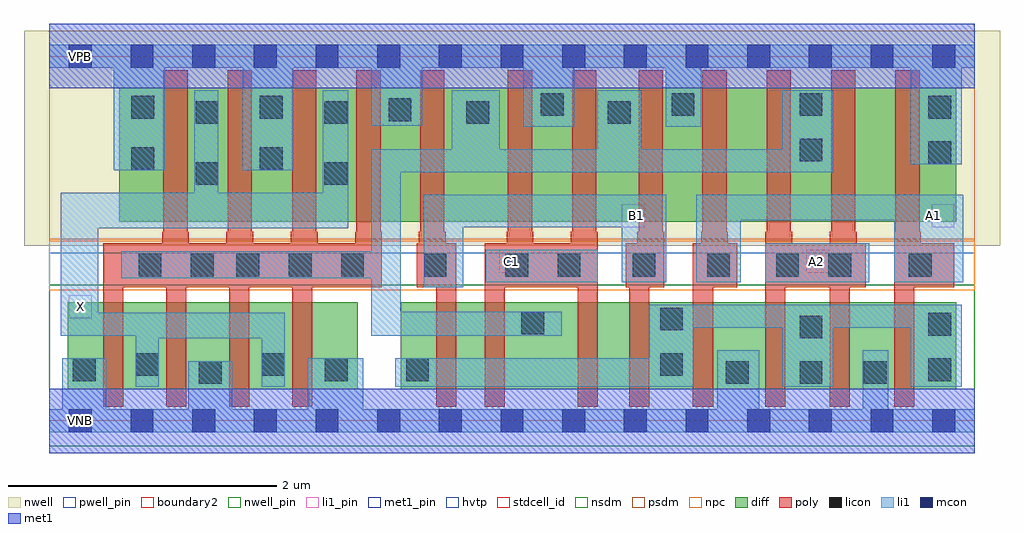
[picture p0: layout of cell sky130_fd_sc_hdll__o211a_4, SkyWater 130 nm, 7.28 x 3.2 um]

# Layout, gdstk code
import gdstk
lib = gdstk.Library(unit=1e-6, precision=1e-09)
def R(c, l, rs):  # rectangles x0, y0, x1, y1
    for r in rs: c.add(gdstk.rectangle(r[:2], r[2:], *l))
def A(c, l, x, y, w, h, nx, ny, dx, dy):  # array of equal rectangles
    R(c, l, [(x+i*dx, y+j*dy, x+i*dx+w, y+j*dy+h) for i in range(nx) for j in range(ny)])
def P(c, l, *ps):  # polygons
    for p in ps: c.add(gdstk.Polygon(p, *l))
nwell_pin = (64, 16)
nwell = (64, 20)
diff = (65, 20)
poly = (66, 20)
licon = (66, 44)
li1_pin = (67, 16)
li1 = (67, 20)
mcon = (67, 44)
met1_pin = (68, 16)
met1 = (68, 20)
hvtp = (78, 44)
stdcell_id = (81, 4)
nsdm = (93, 44)
psdm = (94, 20)
npc = (95, 20)
pwell_pin = (122, 16)
boundary2 = (236, 0)

sky130_fd_sc_hdll__o211a = lib.new_cell('sky130_fd_sc_hdll__o211a_4')
R(sky130_fd_sc_hdll__o211a, nwell_pin, [(0.145,2.635,0.315,2.805)])
R(sky130_fd_sc_hdll__o211a, nwell, [(-0.19,1.305,7.09,2.91)])
R(sky130_fd_sc_hdll__o211a, diff, [(0.135,0.235,2.3,0.885), (2.62,0.235,6.765,0.885), (0.52,1.485,6.765,2.485)])
P(sky130_fd_sc_hdll__o211a, poly, [(2.48,1.41),(2.47,1.41),(2.47,2.615),(2.29,2.615),(2.29,1.41),(2.28,1.41),(2.28,1.325),(2,1.325),(2,1.41),(1.99,1.41),(1.99,2.615),(1.81,2.615),(1.81,1.41),(1.8,1.41),(1.8,1.325),(1.52,1.325),(1.52,1.41),(1.51,1.41),(1.51,2.615),(1.33,2.615),(1.33,1.41),(1.32,1.41),(1.32,1.325),(1.04,1.325),(1.04,1.41),(1.03,1.41),(1.03,2.615),(0.85,2.615),(0.85,1.41),(0.84,1.41),(0.84,1.325),(0.4,1.325),(0.4,0.105),(0.55,0.105),(0.55,0.995),(0.87,0.995),(0.87,0.105),(1.02,0.105),(1.02,0.995),(1.34,0.995),(1.34,0.105),(1.49,0.105),(1.49,0.995),(1.81,0.995),(1.81,0.105),(1.96,0.105),(1.96,0.995),(2.48,0.995)],
  [(3.035,1.325),(2.955,1.325),(2.955,1.41),(2.945,1.41),(2.945,2.615),(2.765,2.615),(2.765,1.41),(2.755,1.41),(2.755,1.325),(2.74,1.325),(2.74,0.995),(2.885,0.995),(2.885,0.105),(3.035,0.105)],
  [(4.09,1.41),(4.08,1.41),(4.08,2.615),(3.9,2.615),(3.9,1.41),(3.89,1.41),(3.89,1.325),(3.61,1.325),(3.61,1.41),(3.6,1.41),(3.6,2.615),(3.42,2.615),(3.42,1.41),(3.41,1.41),(3.41,1.325),(3.245,1.325),(3.245,0.105),(3.395,0.105),(3.395,0.995),(3.94,0.995),(3.94,0.105),(4.09,0.105)],
  [(4.585,1.41),(4.575,1.41),(4.575,2.615),(4.395,2.615),(4.395,1.41),(4.385,1.41),(4.385,1.325),(4.3,1.325),(4.3,0.995),(4.325,0.995),(4.325,0.105),(4.475,0.105),(4.475,0.995),(4.585,0.995)],
  [(5.13,1.325),(5.06,1.325),(5.06,1.41),(5.05,1.41),(5.05,2.615),(4.87,2.615),(4.87,1.41),(4.86,1.41),(4.86,1.325),(4.8,1.325),(4.8,0.105),(4.95,0.105),(4.95,0.995),(5.13,0.995)],
  [(6.09,1.325),(6.02,1.325),(6.02,1.41),(6.01,1.41),(6.01,2.615),(5.83,2.615),(5.83,1.41),(5.82,1.41),(5.82,1.325),(5.54,1.325),(5.54,1.41),(5.53,1.41),(5.53,2.615),(5.35,2.615),(5.35,1.41),(5.34,1.41),(5.34,0.105),(5.49,0.105),(5.49,0.995),(5.82,0.995),(5.82,0.105),(5.97,0.105),(5.97,0.995),(6.09,0.995)],
  [(6.75,1.325),(6.5,1.325),(6.5,1.41),(6.49,1.41),(6.49,2.615),(6.31,2.615),(6.31,1.41),(6.3,1.41),(6.3,0.105),(6.45,0.105),(6.45,0.995),(6.75,0.995)])
A(sky130_fd_sc_hdll__o211a, licon, 1.395, 1.075, 0.17, 0.17, 3, 1, 0.39, 0)
R(sky130_fd_sc_hdll__o211a, licon, [(1.115,0.275,1.285,0.445), (5.045,0.275,5.215,0.445), (5.595,0.275,5.765,0.445), (6.075,0.275,6.245,0.445), (0.175,0.295,0.345,0.465), (2.055,0.295,2.225,0.465), (2.66,0.295,2.83,0.465), (6.555,0.295,6.725,0.465), (0.645,0.335,0.815,0.505), (1.585,0.335,1.755,0.505), (4.555,0.335,4.725,0.505), (5.595,0.615,5.765,0.785), (6.555,0.635,6.725,0.805), (3.52,0.645,3.69,0.815), (4.555,0.675,4.725,0.845), (0.665,1.075,0.835,1.245), (1.055,1.075,1.225,1.245), (2.79,1.075,2.96,1.245), (3.4,1.075,3.57,1.245), (3.79,1.075,3.96,1.245), (4.35,1.075,4.52,1.245), (4.905,1.075,5.075,1.245), (5.42,1.075,5.59,1.245), (5.81,1.075,5.98,1.245), (6.41,1.075,6.58,1.245), (1.09,1.76,1.26,1.93), (2.05,1.76,2.22,1.93), (0.61,1.87,0.78,2.04), (1.57,1.87,1.74,2.04), (6.555,1.915,6.725,2.085), (5.595,1.935,5.765,2.105), (1.09,2.215,1.26,2.385), (2.05,2.215,2.22,2.385), (3.11,2.215,3.28,2.385), (4.165,2.215,4.335,2.385), (2.53,2.235,2.7,2.405), (0.61,2.255,0.78,2.425), (1.57,2.255,1.74,2.425), (6.555,2.255,6.725,2.425), (3.665,2.275,3.835,2.445), (4.64,2.275,4.81,2.445), (5.595,2.275,5.765,2.445)])
R(sky130_fd_sc_hdll__o211a, li1_pin, [(0.145,0.765,0.315,0.935), (3.355,1.105,3.525,1.275), (5.645,1.105,5.815,1.275), (4.27,1.445,4.44,1.615), (6.58,1.445,6.75,1.615)])
R(sky130_fd_sc_hdll__o211a, li1, [(3.255,1.035,4.09,1.275), (5.34,1.035,6.115,1.325)])
P(sky130_fd_sc_hdll__o211a, li1, [(2.23,2.465),(2.04,2.465),(2.04,1.7),(1.26,1.7),(1.26,2.465),(1.08,2.465),(1.08,1.7),(0.085,1.7),(0.085,0.635),(0.645,0.635),(0.645,0.255),(0.815,0.255),(0.815,0.615),(1.585,0.615),(1.585,0.255),(1.755,0.255),(1.755,0.805),(0.365,0.805),(0.365,1.435),(2.23,1.435)],
  [(6.9,2.805),(0,2.805),(0,2.635),(0.48,2.635),(0.48,1.87),(0.86,1.87),(0.86,2.635),(1.44,2.635),(1.44,1.87),(1.82,1.87),(1.82,2.635),(2.4,2.635),(2.4,2.2),(2.78,2.2),(2.78,2.635),(3.535,2.635),(3.535,2.195),(3.915,2.195),(3.915,2.635),(4.595,2.635),(4.595,2.195),(4.86,2.195),(4.86,2.635),(6.425,2.635),(6.425,1.915),(6.805,1.915),(6.805,2.635),(6.9,2.635)],
  [(6.805,0.865),(4.475,0.865),(4.475,0.465),(2.58,0.465),(2.58,0.255),(4.805,0.255),(4.805,0.695),(5.465,0.695),(5.465,0.255),(5.845,0.255),(5.845,0.695),(6.425,0.695),(6.425,0.255),(6.805,0.255)],
  [(4.6,1.685),(2.79,1.685),(2.79,0.995),(3.085,0.995),(3.085,1.445),(4.27,1.445),(4.27,1.035),(4.6,1.035)],
  [(6.815,1.685),(4.825,1.685),(4.825,1.035),(5.155,1.035),(5.155,1.495),(6.3,1.495),(6.3,1.035),(6.815,1.035)],
  [(5.845,2.465),(5.465,2.465),(5.465,2.025),(4.415,2.025),(4.415,2.465),(4.085,2.465),(4.085,2.025),(3.36,2.025),(3.36,2.465),(3,2.465),(3,2.025),(2.4,2.025),(2.4,1.265),(0.535,1.265),(0.535,1.065),(2.4,1.065),(2.4,0.635),(3.82,0.635),(3.82,0.815),(2.62,0.815),(2.62,1.855),(5.845,1.855)],
  [(6.9,0.085),(6.255,0.085),(6.255,0.525),(6.065,0.525),(6.065,0.085),(5.295,0.085),(5.295,0.525),(4.98,0.525),(4.98,0.085),(2.34,0.085),(2.34,0.465),(1.925,0.465),(1.925,0.085),(1.365,0.085),(1.365,0.445),(1.035,0.445),(1.035,0.085),(0.425,0.085),(0.425,0.465),(0.095,0.465),(0.095,0.085),(0,0.085),(0,-0.085),(6.9,-0.085)])
A(sky130_fd_sc_hdll__o211a, mcon, 0.145, -0.085, 0.17, 0.17, 15, 2, 0.46, 2.72)
R(sky130_fd_sc_hdll__o211a, met1_pin, [(0.145,-0.085,0.315,0.085), (0.145,2.635,0.315,2.805)])
R(sky130_fd_sc_hdll__o211a, met1, [(0,-0.24,6.9,0.24), (0,2.48,6.9,2.96)])
R(sky130_fd_sc_hdll__o211a, hvtp, [(0,1.25,6.9,2.72)])
R(sky130_fd_sc_hdll__o211a, stdcell_id, [(0,0,6.9,2.72)])
R(sky130_fd_sc_hdll__o211a, nsdm, [(0,-0.19,6.9,1.015)])
R(sky130_fd_sc_hdll__o211a, psdm, [(0,1.355,6.9,2.91)])
R(sky130_fd_sc_hdll__o211a, npc, [(0,0.975,6.9,1.345)])
R(sky130_fd_sc_hdll__o211a, pwell_pin, [(0.145,-0.085,0.315,0.085)])
R(sky130_fd_sc_hdll__o211a, boundary2, [(0,0,6.9,2.72)])
sky130_fd_sc_hdll__o211a.add(gdstk.Label('A1', (6.595,1.53), layer=67, texttype=5))
sky130_fd_sc_hdll__o211a.add(gdstk.Label('X', (0.23,0.85), layer=67, texttype=5))
sky130_fd_sc_hdll__o211a.add(gdstk.Label('C1', (3.445,1.19), layer=67, texttype=5))
sky130_fd_sc_hdll__o211a.add(gdstk.Label('A2', (5.72,1.19), layer=67, texttype=5))
sky130_fd_sc_hdll__o211a.add(gdstk.Label('B1', (4.38,1.53), layer=67, texttype=5))
sky130_fd_sc_hdll__o211a.add(gdstk.Label('VNB', (0.23,0), layer=64, texttype=59))
sky130_fd_sc_hdll__o211a.add(gdstk.Label('VPB', (0.23,2.72), layer=64, texttype=5))
sky130_fd_sc_hdll__o211a.add(gdstk.Label('VGND', (0.23,0), layer=68, texttype=5))
sky130_fd_sc_hdll__o211a.add(gdstk.Label('VPWR', (0.23,2.72), layer=68, texttype=5))
sky130_fd_sc_hdll__o211a.add(gdstk.Label('o211a_4', (0,0), layer=83, texttype=44))

lib.write_gds('sky130_fd_sc_hdll__o211a_4.gds')
